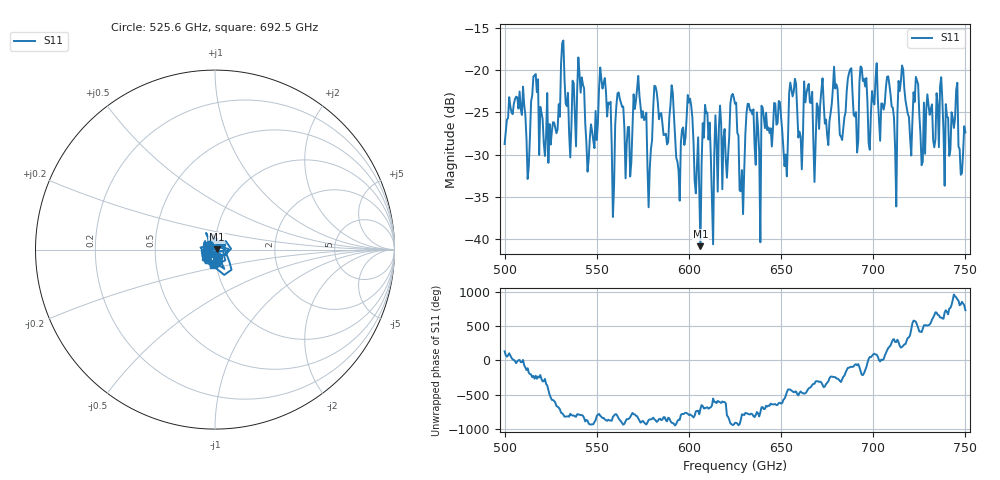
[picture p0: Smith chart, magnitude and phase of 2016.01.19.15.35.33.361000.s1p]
!Created with skrf (http://scikit-rf.org).
# GHz S RI R 50.0
!freq ReS11 ImS11
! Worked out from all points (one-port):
!   401 points, 500 GHz to 750 GHz, reference 50 ohm
!   lowest |S11| = -40.9 dB at 606.2 GHz (marker M1), VSWR 1.02, Z = 50.9 + j0.246 ohm
!   |S11| at or under -10 dB: start of sweep to end of sweep
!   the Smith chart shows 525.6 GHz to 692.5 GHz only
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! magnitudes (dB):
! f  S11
! 500 GHz  -28.8
! 512.5 GHz  -32.9
! 516.9 GHz  -20.5
! 525 GHz  -28.8
! 531.2 GHz  -16.8
! 535 GHz  -27.5
! 541.2 GHz  -22.7
! 545 GHz  -32.0
! 553.1 GHz  -22.2
! 559.4 GHz  -33.8
! 562.5 GHz  -23.4
! 566.9 GHz  -26.7
! 572.5 GHz  -20.7
! 578.8 GHz  -31.7
! 581.9 GHz  -21.9
! 590.6 GHz  -21.8
! 593.8 GHz  -30.8
! 600.6 GHz  -23.4
! 606.2 GHz  -40.9
! 625 GHz  -24.0
! 628.8 GHz  -31.8
! 632.5 GHz  -24.0
! 652.5 GHz  -30.0
! 656.2 GHz  -23.1
! 660.6 GHz  -27.9
! 687.5 GHz  -19.9
! 718.8 GHz  -25.2
! 750 GHz  -27.4
